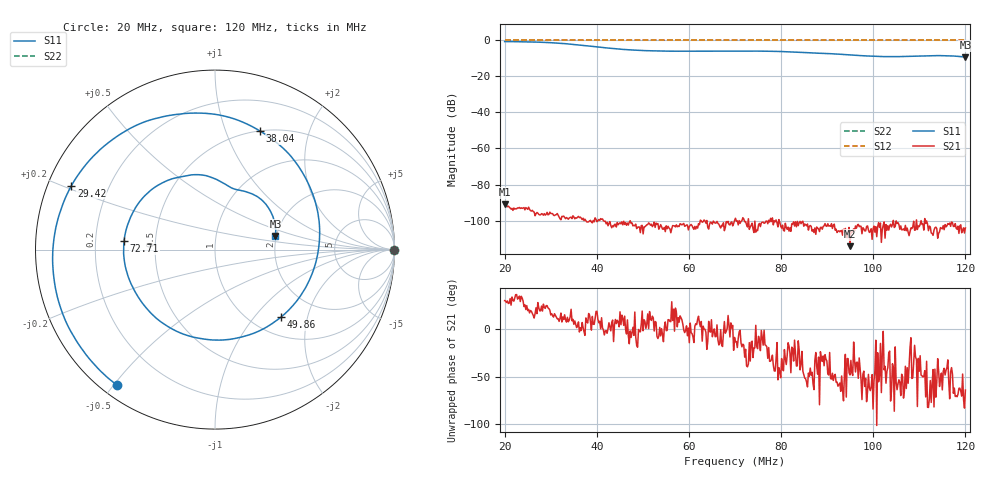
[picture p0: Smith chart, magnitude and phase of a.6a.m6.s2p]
! Anritsu VNA Master:  Model: MS2036C/10/77
! SN:  1601066
! /bd0/18may07/256.ew.m6.s2p
! Existing Calibration Information:
! TYPE:  Current Settings,  Active Cal Settings
! TIME:  05/07/2018 12:10:37 PM,  05/07/2018 12:05:13 PM
! INTERNAL TEMP:  54.0 C,  53.5 C
! # POINTS:  500,  500
! START FREQ:  20.000 MHz,  20.000 MHz
! STOP FREQ:  120.000 MHz,  120.000 MHz
! SOURCE POWER:  High,  High
! IFBW:  50 Hz,  50 Hz
! AVG FACTOR:  1 ,  1
! REF PLANE 1:  0 mm,  0 mm
! REF PLANE 2:  0 mm,  0 mm
! CAL TYPE:  Full S11,  Full S11
! CAL METHOD:  SOLT,  SOLT
! CAL LINE TYPE:  Coax,  Coax
! DUT PORT 1:  K-Conn(F),  K-Conn(F)
! DUT PORT 2:  K-Conn(F),  K-Conn(F)
! CAL STATUS:  OK: Accuracy High,  --
# GHZ S DB R 50.0
! FREQ.GHZ  S11DB  S11A  S21DB  S21A  S12DB  S12A  S22DB  S22A
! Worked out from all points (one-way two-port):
!   500 points, 20 MHz to 120 MHz, reference 50 ohm
!   highest |S21| = -91.10 dB at 20 MHz (marker M1); lowest = -114.2 dB at 94.95 MHz (marker M2)
!   lowest |S11| = -9.3 dB at 120 MHz (marker M3), VSWR 2.05, Z = 98.8 + j16.9 ohm
!   |S11| at or under -10 dB: nowhere
!   |S22| runs from 0.0 to 0.0 dB; largest |S21 - S12| = 1
!   S11 on the Smith chart (normalised r, x): 20 MHz: 0.04, -0.51; 29.42 MHz: 0.07, +0.21; 38.04 MHz: 0.50, +1.33; 49.86 MHz: 1.33, -1.39; 72.71 MHz: 0.33, +0.04; 120 MHz: 1.98, +0.34
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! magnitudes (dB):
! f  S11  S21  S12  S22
! 20 MHz  -0.6  -91.1  0.0  0.0
! 24.81 MHz  -0.8  -93.3  0.0  0.0
! 29.42 MHz  -1.2  -96.8  0.0  0.0
! 33.03 MHz  -1.8  -98.3  0.0  0.0
! 36.83 MHz  -2.7  -99.5  0.0  0.0
! 38.04 MHz  -3.0  -100.8  0.0  0.0
! 44.85 MHz  -4.8  -101.7  0.0  0.0
! 49.86 MHz  -5.6  -102.7  0.0  0.0
! 53.47 MHz  -5.9  -104.8  0.0  0.0
! 57.07 MHz  -6.0  -103.6  0.0  0.0
! 70.1 MHz  -5.9  -98.7  0.0  0.0
! 72.71 MHz  -5.9  -103.6  0.0  0.0
! 80.12 MHz  -6.2  -104.2  0.0  0.0
! 86.73 MHz  -6.9  -105.9  0.0  0.0
! 90.94 MHz  -7.4  -101.8  0.0  0.0
! 94.95 MHz  -8.0  -114.2  0.0  0.0
! 99.36 MHz  -8.7  -106.1  0.0  0.0
! 103.4 MHz  -9.0  -105.3  0.0  0.0
! 105.6 MHz  -9.0  -102.3  0.0  0.0
! 114.2 MHz  -8.4  -107.1  0.0  0.0
! 117.4 MHz  -8.6  -103.3  0.0  0.0
! 120 MHz  -9.3  -104.2  0.0  0.0
